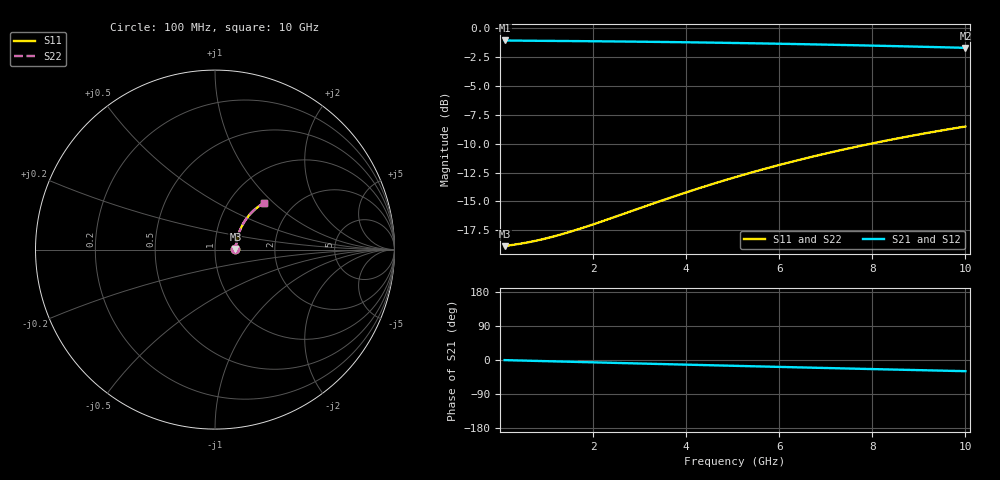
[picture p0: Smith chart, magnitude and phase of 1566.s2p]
# Hz S RI R 50.00
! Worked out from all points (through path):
!   100 points, 100 MHz to 10 GHz, reference 50 ohm
!   highest |S21| = -1.05 dB at 100 MHz (marker M1); lowest = -1.7 dB at 10 GHz (marker M2)
!   group delay of S21, straight-line fit = 8.21 ps
!   lowest |S11| = -18.9 dB at 100 MHz (marker M3), VSWR 1.26, Z = 62.8 + j0.426 ohm
!   |S11| at or under -10 dB: start of sweep to 7.968 GHz
!   |S22| runs from -18.9 to -8.5 dB; largest |S21 - S12| = 0
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1e8  0.1137 0.00335  0.8863 -0.0048  0.8863 -0.0048  0.1137 0.00335
6e8  0.1165 0.0199  0.8835 -0.0287  0.8835 -0.0287  0.1165 0.0199
9e8  0.118 0.0298  0.8819 -0.0429  0.8819 -0.0429  0.118 0.0298
1.1e9  0.1191 0.0364  0.8808 -0.0523  0.8808 -0.0523  0.1191 0.0364
1.3e9  0.1203 0.0429  0.8795 -0.0618  0.8795 -0.0618  0.1203 0.0429
1.5e9  0.1216 0.0494  0.8782 -0.0712  0.8782 -0.0712  0.1216 0.0494
1.8e9  0.1237 0.0591  0.8759 -0.0852  0.8759 -0.0852  0.1237 0.0591
2.1e9  0.1261 0.0687  0.8734 -0.0991  0.8734 -0.0991  0.1261 0.0687
2.6e9  0.1307 0.0844  0.8685 -0.1222  0.8685 -0.1222  0.1307 0.0844
3.4e9  0.1397 0.1089  0.859 -0.1583  0.859 -0.1583  0.1397 0.1089
3.9e9  0.1462 0.1237  0.852 -0.1804  0.852 -0.1804  0.1462 0.1237
4.3e9  0.152 0.1352  0.8459 -0.1977  0.8459 -0.1977  0.152 0.1352
4.7e9  0.1582 0.1464  0.8393 -0.2148  0.8393 -0.2148  0.1582 0.1464
5.1e9  0.1648 0.1573  0.8322 -0.2315  0.8322 -0.2315  0.1648 0.1573
5.5e9  0.1718 0.1679  0.8247 -0.2479  0.8247 -0.2479  0.1718 0.1679
5.9e9  0.1792 0.1781  0.8168 -0.2639  0.8168 -0.2639  0.1792 0.1781
6.7e9  0.1951 0.1973  0.7998 -0.2949  0.7998 -0.2949  0.1951 0.1973
7.5e9  0.2122 0.2149  0.7814 -0.3243  0.7814 -0.3243  0.2122 0.2149
7.9e9  0.2212 0.2231  0.7717 -0.3383  0.7717 -0.3383  0.2212 0.2231
8.4e9  0.2328 0.2327  0.7592 -0.3553  0.7592 -0.3553  0.2328 0.2327
9.2e9  0.252 0.2467  0.7384 -0.3811  0.7384 -0.3811  0.252 0.2467
1e10  0.2719 0.259  0.7167 -0.4053  0.7167 -0.4053  0.2719 0.259
